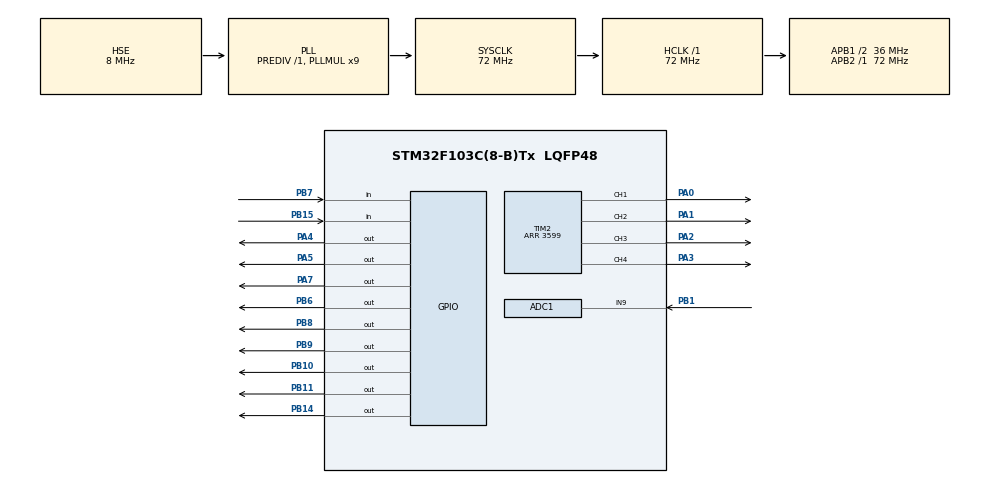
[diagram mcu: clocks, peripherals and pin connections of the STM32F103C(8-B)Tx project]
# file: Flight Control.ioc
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ADC1.Channel-0\#ChannelRegularConversion=ADC_CHANNEL_9
ADC1.NbrOfConversionFlag=1
ADC1.Rank-0\#ChannelRegularConversion=1
ADC1.SamplingTime-0\#ChannelRegularConversion=ADC_SAMPLETIME_55CYCLES_5
ADC1.master=1
Mcu.Family=STM32F1
Mcu.Name=STM32F103C(8-B)Tx
Mcu.Package=LQFP48
NVIC.PriorityGroup=NVIC_PRIORITYGROUP_4
NVIC.TIM1_UP_IRQn=true\:1\:0\:true\:false\:true\:true\:true\:true
PA0-WKUP.Signal=S_TIM2_CH1_ETR
PA1.Signal=S_TIM2_CH2
PA13.Mode=Serial_Wire
PA13.Signal=SYS_JTMS-SWDIO
PA14.Mode=Serial_Wire
PA14.Signal=SYS_JTCK-SWCLK
PA2.Signal=S_TIM2_CH3
PA3.Signal=S_TIM2_CH4
PA4.GPIO_ModeDefaultOutputPP=GPIO_MODE_OUTPUT_PP
PA4.Signal=GPIO_Output
PA5.GPIO_ModeDefaultOutputPP=GPIO_MODE_OUTPUT_PP
PA5.Signal=GPIO_Output
PA7.GPIO_ModeDefaultOutputPP=GPIO_MODE_OUTPUT_PP
PA7.PinState=GPIO_PIN_RESET
PA7.Signal=GPIO_Output
PB1.Signal=ADCx_IN9
PB10.GPIO_ModeDefaultOutputPP=GPIO_MODE_OUTPUT_PP
PB10.Signal=GPIO_Output
PB11.GPIO_ModeDefaultOutputPP=GPIO_MODE_OUTPUT_PP
PB11.Signal=GPIO_Output
PB14.GPIO_ModeDefaultOutputPP=GPIO_MODE_OUTPUT_PP
PB14.Signal=GPIO_Output
PB15.GPIO_PuPd=GPIO_PULLUP
PB15.Signal=GPIO_Input
PB6.GPIO_ModeDefaultOutputPP=GPIO_MODE_OUTPUT_PP
PB6.Signal=GPIO_Output
PB7.GPIO_PuPd=GPIO_PULLUP
PB7.Signal=GPIO_Input
PB8.GPIO_ModeDefaultOutputPP=GPIO_MODE_OUTPUT_OD
PB8.GPIO_PuPd=GPIO_NOPULL
PB8.Signal=GPIO_Output
PB9.GPIO_ModeDefaultOutputPP=GPIO_MODE_OUTPUT_OD
PB9.GPIO_PuPd=GPIO_NOPULL
PB9.Signal=GPIO_Output
PD0-OSC_IN.Mode=HSE-External-Oscillator
PD0-OSC_IN.Signal=RCC_OSC_IN
PD1-OSC_OUT.Mode=HSE-External-Oscillator
PD1-OSC_OUT.Signal=RCC_OSC_OUT
ProjectManager.HeapSize=0x200
ProjectManager.StackSize=0x400
ProjectManager.TargetToolchain=MDK-ARM V5.32
RCC.ADCPresc=RCC_ADCPCLK2_DIV6
RCC.AHBFreq_Value=72000000
RCC.APB1CLKDivider=RCC_HCLK_DIV2
RCC.APB1Freq_Value=36000000
RCC.APB1TimFreq_Value=72000000
RCC.APB2Freq_Value=72000000
RCC.APB2TimFreq_Value=72000000
RCC.HCLKFreq_Value=72000000
RCC.PLLMUL=RCC_PLL_MUL9
RCC.PLLSourceVirtual=RCC_PLLSOURCE_HSE
RCC.SYSCLKFreq_VALUE=72000000
RCC.SYSCLKSource=RCC_SYSCLKSOURCE_PLLCLK
RCC.USBFreq_Value=72000000
SH.ADCx_IN9.0=ADC1_IN9,IN9
SH.S_TIM2_CH1_ETR.0=TIM2_CH1,PWM Generation1 CH1
SH.S_TIM2_CH2.0=TIM2_CH2,PWM Generation2 CH2
SH.S_TIM2_CH3.0=TIM2_CH3,PWM Generation3 CH3
SH.S_TIM2_CH4.0=TIM2_CH4,PWM Generation4 CH4
TIM1.AutoReloadPreload=TIM_AUTORELOAD_PRELOAD_ENABLE
TIM1.Period=999
TIM1.Prescaler=71
TIM2.AutoReloadPreload=TIM_AUTORELOAD_PRELOAD_ENABLE
TIM2.Channel-PWM\ Generation1\ CH1=TIM_CHANNEL_1
TIM2.Channel-PWM\ Generation2\ CH2=TIM_CHANNEL_2
TIM2.Channel-PWM\ Generation3\ CH3=TIM_CHANNEL_3
TIM2.Channel-PWM\ Generation4\ CH4=TIM_CHANNEL_4
TIM2.Period=3599
VP_TIM1_VS_ClockSourceINT.Mode=Internal
VP_TIM2_VS_ClockSourceINT.Mode=Internal
board=custom

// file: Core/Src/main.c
/* USER CODE BEGIN Header */
/**
  ******************************************************************************
  * @file           : main.c
  * @brief          : Main program body
  ******************************************************************************
  * @attention
  *
  * Copyright (c) 2026 STMicroelectronics.
  * All rights reserved.
  *
  * This software is licensed under terms that can be found in the LICENSE file
  * in the root directory of this software component.
  * If no LICENSE file comes with this software, it is provided AS-IS.
  *
  ******************************************************************************
  */
/* USER CODE END Header */
#include "main.h"
#include "adc.h"
#include "tim.h"
#include "gpio.h"
#include "PWM.h"
#include "Data_proc.h"
#include "PowerDetection.h"
#include "LED.h"
#include "Variable.h"
#include "OLED.h"
#include "Motor.h"
#include "NRF24L01.h"
#include "Delay.h"
#include "inv_mpu.h"
#include "MPU6050.h"
#include "Data_proc.h"

void SystemClock_Config(void);

int main(void)
{

  /* MCU Configuration--------------------------------------------------------*/

  /* Reset of all peripherals, Initializes the Flash interface and the Systick. */
  HAL_Init();

  /* Configure the system clock */
  SystemClock_Config();

  /* Initialize all configured peripherals */
  MX_GPIO_Init();
  MX_ADC1_Init();
  HAL_ADCEx_Calibration_Start(&hadc1);   //ADC校准:F1必须,否则读数精度差
  MX_TIM1_Init();
  MX_TIM2_Init();
  /* USER CODE BEGIN 2 */
  HAL_TIM_PWM_Start(&htim2, TIM_CHANNEL_1);
  HAL_TIM_PWM_Start(&htim2, TIM_CHANNEL_2);
  HAL_TIM_PWM_Start(&htim2, TIM_CHANNEL_3);
  HAL_TIM_PWM_Start(&htim2, TIM_CHANNEL_4);

  OLED_Init();
  DWT_Init();        // 必须先启动DWT，否则Delay_us会死循环
  NRF24L01_Init();
  MPU_Init();
  MPU6050_DMP_Init();
  HAL_TIM_Base_Start_IT(&htim1);  //启动定时器1中断,1ms

  /* USER CODE END 2 */

  /* Infinite loop */
  /* USER CODE BEGIN WHILE */
  while (1)
  {
    //获取姿态信息
    if(Attitude_Proc_time >= PERIOD_ATTITUDE)
    {
      Attitude_Data_Proc();
      Attitude_Proc_time = 0;
    }
    //接收遥控数据
    if(Receive_Slow_time >= PERIOD_RECEIVE)
    {
      Date_Receive();
      Receive_Slow_time = 0;
    }
    //数据处理加PID
    if(Proc_Slow_time >= PERIOD_PROC)
    {
      Data_Proc();
      Proc_Slow_time = 0;
    }
    //获取平均电量
    if(PowerDete_Slow_time >= PERIOD_POWER)
    {
      GetCurrent_Power();
      PowerDete_Slow_time = 0;
    }
    //数据显示
    if(Show_Slow_time >= PERIOD_SHOW)
    {
      Data_Display();
      Show_Slow_time = 0;
    }

    /* USER CODE END WHILE */

    /*电机PWM只由Motor_Control()(1ms中断)写,主循环不要再动比较值,
      否则两边抢同一个CCR,电机会在0和1000之间乱跳*/
  }
}

void SystemClock_Config(void)
{
  RCC_OscInitTypeDef RCC_OscInitStruct = {0};
  RCC_ClkInitTypeDef RCC_ClkInitStruct = {0};
  RCC_PeriphCLKInitTypeDef PeriphClkInit = {0};

  /** Initializes the RCC Oscillators according to the specified parameters
  * in the RCC_OscInitTypeDef structure.
  */
  RCC_OscInitStruct.OscillatorType = RCC_OSCILLATORTYPE_HSE;
  RCC_OscInitStruct.HSEState = RCC_HSE_ON;
  RCC_OscInitStruct.HSEPredivValue = RCC_HSE_PREDIV_DIV1;
  RCC_OscInitStruct.HSIState = RCC_HSI_ON;
  RCC_OscInitStruct.PLL.PLLState = RCC_PLL_ON;
  RCC_OscInitStruct.PLL.PLLSource = RCC_PLLSOURCE_HSE;
  RCC_OscInitStruct.PLL.PLLMUL = RCC_PLL_MUL9;
  if (HAL_RCC_OscConfig(&RCC_OscInitStruct) != HAL_OK)
  {
    Error_Handler();
  }

  /** Initializes the CPU, AHB and APB buses clocks
  */
  RCC_ClkInitStruct.ClockType = RCC_CLOCKTYPE_HCLK|RCC_CLOCKTYPE_SYSCLK
                              |RCC_CLOCKTYPE_PCLK1|RCC_CLOCKTYPE_PCLK2;
  RCC_ClkInitStruct.SYSCLKSource = RCC_SYSCLKSOURCE_PLLCLK;
  RCC_ClkInitStruct.AHBCLKDivider = RCC_SYSCLK_DIV1;
  RCC_ClkInitStruct.APB1CLKDivider = RCC_HCLK_DIV2;
  RCC_ClkInitStruct.APB2CLKDivider = RCC_HCLK_DIV1;

  if (HAL_RCC_ClockConfig(&RCC_ClkInitStruct, FLASH_LATENCY_2) != HAL_OK)
  {
    Error_Handler();
  }
  PeriphClkInit.PeriphClockSelection = RCC_PERIPHCLK_ADC;
  PeriphClkInit.AdcClockSelection = RCC_ADCPCLK2_DIV6;
  if (HAL_RCCEx_PeriphCLKConfig(&PeriphClkInit) != HAL_OK)
  {
    Error_Handler();
  }
}

void Error_Handler(void)
{
  __disable_irq();
  while (1)
  {
  }
}
